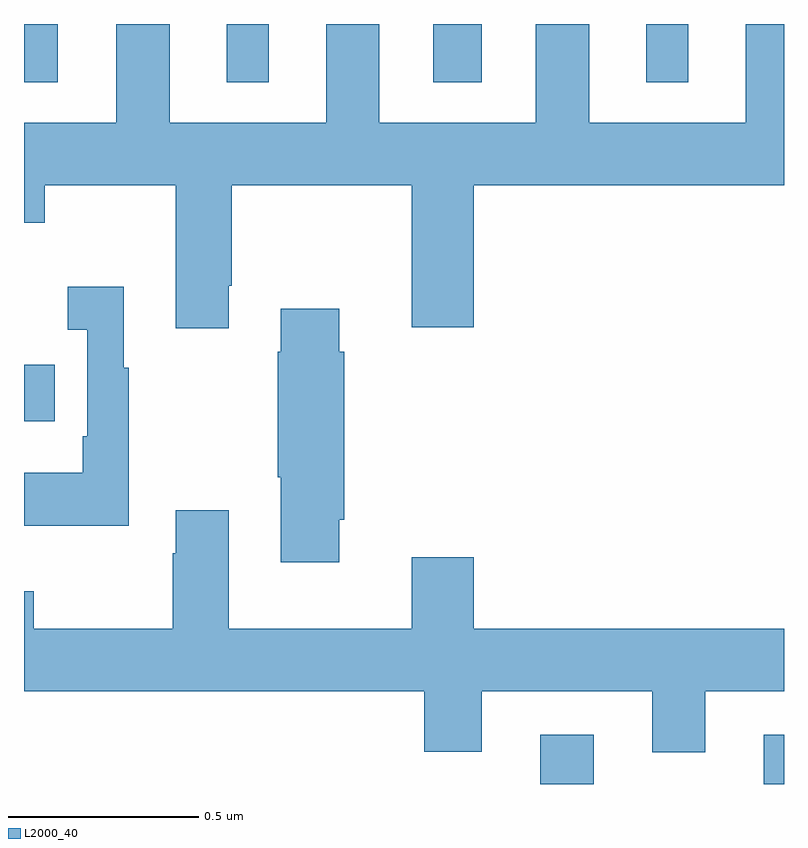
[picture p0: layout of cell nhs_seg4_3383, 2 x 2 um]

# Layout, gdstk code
import gdstk
lib = gdstk.Library(unit=1e-6, precision=1e-09)
def R(c, l, rs):  # rectangles x0, y0, x1, y1
    for r in rs: c.add(gdstk.rectangle(r[:2], r[2:], *l))
def P(c, l, *ps):  # polygons
    for p in ps: c.add(gdstk.Polygon(p, *l))
L2000_40 = (2000, 40)

nhs_seg4_3383 = lib.new_cell('nhs_seg4_3383')
R(nhs_seg4_3383, L2000_40, [(153.359,805.9,153.499,806.029), (153.947,805.9,154,806.029), (152,806.855,152.081,807.003), (152,807.747,152.089,807.9), (152.534,807.747,152.644,807.9), (153.077,807.747,153.205,807.9), (153.638,807.747,153.748,807.9)])
P(nhs_seg4_3383, L2000_40, [(152.539,807.211),(152.547,807.211),(152.547,807.476),(153.02,807.476),(153.02,807.102),(153.184,807.102),(153.184,807.476),(154,807.476),(154,807.9),(153.899,807.9),(153.899,807.64),(153.487,807.64),(153.487,807.9),(153.347,807.9),(153.347,807.64),(152.935,807.64),(152.935,807.9),(152.795,807.9),(152.795,807.64),(152.383,807.64),(152.383,807.9),(152.243,807.9),(152.243,807.64),(152,807.64),(152,807.377),(152.055,807.377),(152.055,807.476),(152.399,807.476),(152.399,807.099),(152.539,807.099)],
  [(152.275,806.995),(152.263,806.995),(152.263,807.208),(152.115,807.208),(152.115,807.095),(152.166,807.095),(152.166,806.815),(152.154,806.815),(152.154,806.719),(152,806.719),(152,806.579),(152.275,806.579)],
  [(152.83,806.596),(152.843,806.596),(152.843,807.038),(152.83,807.038),(152.83,807.151),(152.675,807.151),(152.675,807.038),(152.668,807.038),(152.668,806.707),(152.675,806.707),(152.675,806.484),(152.83,806.484)],
  [(153.793,806.144),(154,806.144),(154,806.308),(153.184,806.308),(153.184,806.497),(153.02,806.497),(153.02,806.308),(152.539,806.308),(152.539,806.62),(152.399,806.62),(152.399,806.507),(152.392,806.507),(152.392,806.308),(152.025,806.308),(152.025,806.407),(152,806.407),(152,806.144),(153.053,806.144),(153.053,805.985),(153.205,805.985),(153.205,806.144),(153.653,806.144),(153.653,805.984),(153.793,805.984)])

lib.write_gds('nhs_seg4_3383.gds')
